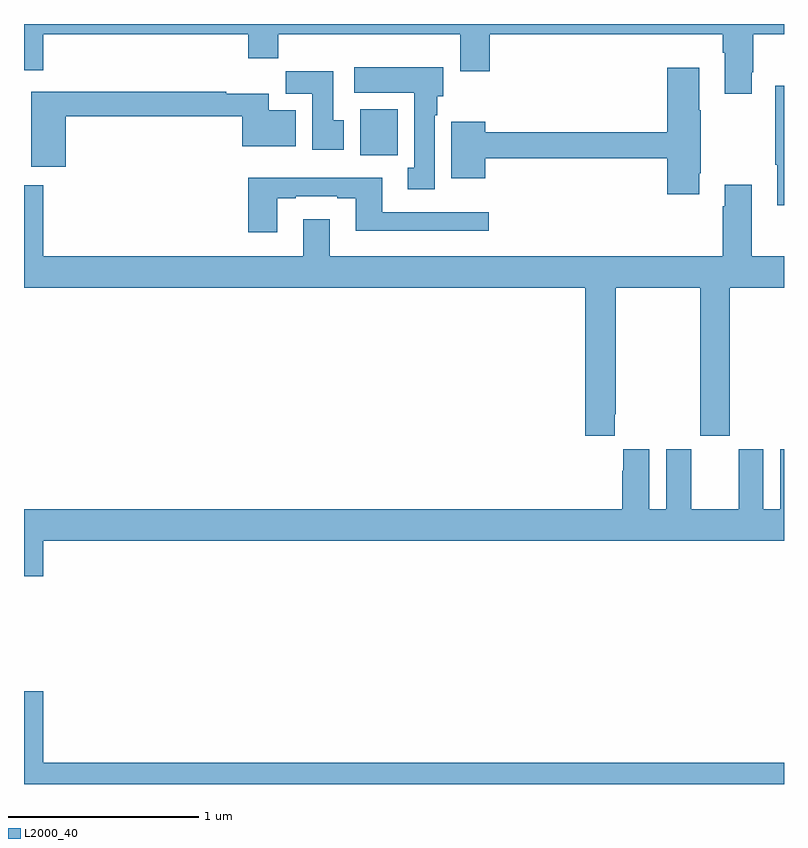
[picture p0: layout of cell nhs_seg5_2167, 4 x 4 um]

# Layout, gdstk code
import gdstk
lib = gdstk.Library(unit=1e-6, precision=1e-09)
def R(c, l, rs):  # rectangles x0, y0, x1, y1
    for r in rs: c.add(gdstk.rectangle(r[:2], r[2:], *l))
def P(c, l, *ps):  # polygons
    for p in ps: c.add(gdstk.Polygon(p, *l))
L2000_40 = (2000, 40)

nhs_seg5_2167 = lib.new_cell('nhs_seg5_2167')
R(nhs_seg5_2167, L2000_40, [(238.769,872.108,238.966,872.35)])
P(nhs_seg5_2167, L2000_40, [(240.829,872.545),(240.837,872.545),(240.837,872.744),(241,872.744),(241,872.799),(237,872.799),(237,872.556),(237.1,872.556),(237.1,872.744),(238.181,872.744),(238.181,872.62),(238.337,872.62),(238.337,872.744),(239.297,872.744),(239.297,872.55),(239.45,872.55),(239.45,872.744),(240.677,872.744),(240.677,872.648),(240.689,872.648),(240.689,872.433),(240.829,872.433)],
  [(239.161,872.318),(239.176,872.318),(239.176,872.418),(239.206,872.418),(239.206,872.572),(238.737,872.572),(238.737,872.438),(239.054,872.438),(239.054,872.042),(239.021,872.042),(239.021,871.929),(239.161,871.929)],
  [(240.553,872.014),(240.561,872.014),(240.561,872.345),(240.553,872.345),(240.553,872.569),(240.386,872.569),(240.386,872.228),(239.428,872.228),(239.428,872.284),(239.249,872.284),(239.249,871.988),(239.428,871.988),(239.428,872.092),(240.386,872.092),(240.386,871.902),(240.553,871.902)],
  [(238.684,872.292),(238.627,872.292),(238.627,872.551),(238.378,872.551),(238.378,872.432),(238.517,872.432),(238.517,872.136),(238.684,872.136)],
  [(241,872.473),(240.954,872.473),(240.954,872.057),(240.965,872.057),(240.965,871.845),(241,871.845)],
  [(237.221,872.314),(238.148,872.314),(238.148,872.156),(238.429,872.156),(238.429,872.344),(238.288,872.344),(238.288,872.432),(238.064,872.432),(238.064,872.443),(237.038,872.443),(237.038,872.049),(237.221,872.049)],
  [(238.333,871.881),(238.429,871.881),(238.429,871.893),(238.649,871.893),(238.649,871.881),(238.745,871.881),(238.745,871.712),(239.446,871.712),(239.446,871.809),(238.885,871.809),(238.885,871.99),(238.181,871.99),(238.181,871.704),(238.333,871.704)],
  [(238.609,871.771),(238.469,871.771),(238.469,871.576),(237.1,871.576),(237.1,871.951),(237,871.951),(237,871.412),(239.954,871.412),(239.954,870.633),(240.109,870.633),(240.109,870.745),(240.114,870.745),(240.114,871.412),(240.559,871.412),(240.559,870.633),(240.714,870.633),(240.714,871.412),(241,871.412),(241,871.576),(240.829,871.576),(240.829,871.954),(240.689,871.954),(240.689,871.841),(240.677,871.841),(240.677,871.576),(238.609,871.576)],
  [(237.1,870.08),(241,870.08),(241,870.562),(240.98,870.562),(240.98,870.244),(240.892,870.244),(240.892,870.562),(240.761,870.562),(240.761,870.244),(240.511,870.244),(240.511,870.562),(240.38,870.562),(240.38,870.244),(240.292,870.244),(240.292,870.562),(240.155,870.562),(240.155,870.449),(240.149,870.449),(240.149,870.244),(237,870.244),(237,869.892),(237.1,869.892)],
  [(241,868.912),(237.1,868.912),(237.1,869.287),(237,869.287),(237,868.799),(241,868.799)])

lib.write_gds('nhs_seg5_2167.gds')
